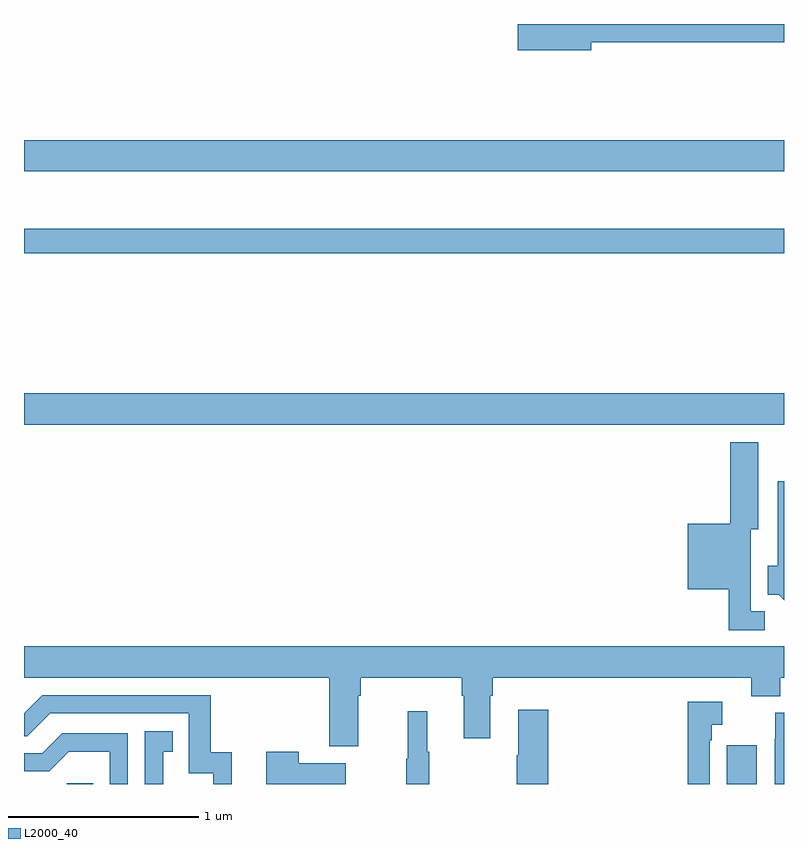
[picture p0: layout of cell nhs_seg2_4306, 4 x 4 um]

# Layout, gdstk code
import gdstk
lib = gdstk.Library(unit=1e-6, precision=1e-09)
def R(c, l, rs):  # rectangles x0, y0, x1, y1
    for r in rs: c.add(gdstk.rectangle(r[:2], r[2:], *l))
def P(c, l, *ps):  # polygons
    for p in ps: c.add(gdstk.Polygon(p, *l))
L2000_40 = (2000, 40)

nhs_seg2_4306 = lib.new_cell('nhs_seg2_4306')
R(nhs_seg2_4306, L2000_40, [(345.225,589.8,345.365,589.803), (348.698,589.8,348.856,590.005), (345,591.692,349,591.856), (345,592.594,349,592.723), (345,593.024,349,593.188)])
P(nhs_seg2_4306, L2000_40, [(347.986,593.704),(349,593.704),(349,593.8),(347.598,593.8),(347.598,593.662),(347.986,593.662)],
  [(348.898,590.709),(348.826,590.709),(348.826,591.14),(348.865,591.14),(348.865,591.598),(348.716,591.598),(348.716,591.169),(348.494,591.169),(348.494,590.825),(348.709,590.825),(348.709,590.609),(348.898,590.609)],
  [(349,591.393),(348.966,591.393),(348.966,590.948),(348.914,590.948),(348.914,590.795),(348.973,590.795),(349,590.768)],
  [(346.759,590.264),(346.772,590.264),(346.772,590.36),(347.303,590.36),(347.303,590.264),(347.315,590.264),(347.315,590.04),(347.455,590.04),(347.455,590.264),(347.468,590.264),(347.468,590.36),(348.827,590.36),(348.827,590.261),(348.979,590.261),(348.979,590.36),(349,590.36),(349,590.524),(345,590.524),(345,590.36),(346.607,590.36),(346.607,589.998),(346.759,589.998)],
  [(346.094,589.966),(345.983,589.966),(345.983,590.268),(345.096,590.268),(345,590.172),(345,590.052),(345.018,590.052),(345.138,590.172),(345.867,590.172),(345.867,589.857),(345.996,589.857),(345.996,589.8),(346.094,589.8)],
  [(348.609,590.03),(348.621,590.03),(348.621,590.112),(348.676,590.112),(348.676,590.233),(348.493,590.233),(348.493,589.8),(348.609,589.8)],
  [(347.759,590.191),(347.6,590.191),(347.6,589.952),(347.593,589.952),(347.593,589.8),(347.759,589.8)],
  [(347.134,589.969),(347.123,589.969),(347.123,590.182),(347.02,590.182),(347.02,589.932),(347.013,589.932),(347.013,589.8),(347.134,589.8)],
  [(349,590.176),(348.953,590.176),(348.953,590.037),(348.95,590.037),(348.95,589.8),(349,589.8)],
  [(345.733,589.971),(345.782,589.971),(345.782,590.077),(345.636,590.077),(345.636,589.8),(345.733,589.8)],
  [(345.546,590.067),(345.2,590.067),(345.095,589.962),(345,589.962),(345,589.866),(345.132,589.866),(345.236,589.97),(345.45,589.97),(345.45,589.8),(345.546,589.8)],
  [(346.693,589.909),(346.445,589.909),(346.445,589.969),(346.274,589.969),(346.274,589.8),(346.693,589.8)])

lib.write_gds('nhs_seg2_4306.gds')
